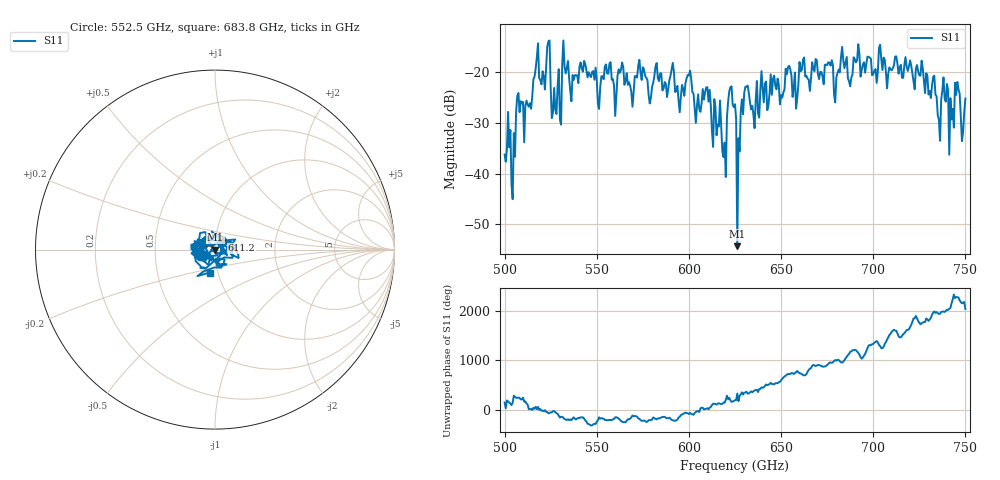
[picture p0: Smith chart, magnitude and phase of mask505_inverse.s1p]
!Created with skrf (http://scikit-rf.org).
# GHz S MA R 50.0
!freq magS11 angS11
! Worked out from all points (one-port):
!   401 points, 500 GHz to 750 GHz, reference 50 ohm
!   lowest |S11| = -54.3 dB at 626.2 GHz (marker M1), VSWR 1.00, Z = 50.2 - j0.0758 ohm
!   |S11| at or under -10 dB: start of sweep to end of sweep
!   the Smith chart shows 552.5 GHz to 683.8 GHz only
!   S11 on the Smith chart (normalised r, x): 552.5 GHz: 0.84, -0.06; 611.2 GHz: 1.08, +0.12; 683.8 GHz: 0.91, -0.24
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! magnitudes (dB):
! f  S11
! 500 GHz  -36.2
! 504.4 GHz  -45.0
! 507.5 GHz  -24.1
! 511.9 GHz  -25.6
! 516.9 GHz  -19.2
! 523.8 GHz  -13.9
! 526.9 GHz  -23.1
! 531.2 GHz  -18.5
! 552.5 GHz  -20.8
! 562.5 GHz  -20.2
! 593.8 GHz  -22.7
! 600 GHz  -20.7
! 611.2 GHz  -23.5
! 618.8 GHz  -36.7
! 623.1 GHz  -22.8
! 625 GHz  -26.3
! 626.2 GHz  -54.3
! 631.2 GHz  -22.9
! 634.4 GHz  -26.6
! 656.2 GHz  -24.9
! 683.8 GHz  -17.6
! 687.5 GHz  -22.8
! 718.8 GHz  -19.8
! 735.6 GHz  -29.4
! 738.8 GHz  -25.3
! 742.5 GHz  -29.3
! 745.6 GHz  -21.9
! 750 GHz  -25.2
